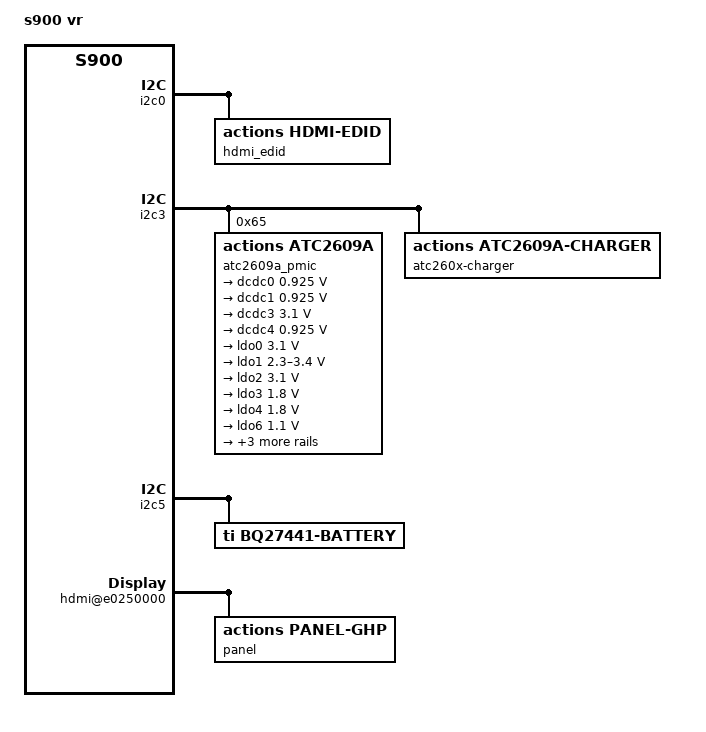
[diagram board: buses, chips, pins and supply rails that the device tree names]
/*
 * Copyright (c) 2015 Actions Semi Co., Ltd.
 *
 * SPDX-License-Identifier:	GPL-2.0+
 */

/dts-v1/;

#include "s900.dtsi"

/ {
	model = "s900 vr";
	compatible = "actions,s900_vr", "actions,s900";

	chosen {
		stdout-path = &serial5;
	};

	clock:e0160000 {
		compatible = "actions,owl-clk";
		core_pll = <1104>;
		dev_pll = <660>;
		display_pll = <1056>;
	};

	i2c0: i2c@e0170000 {
		hdmi_edid {
			compatible = "actions,hdmi-edid";
		};
	};

	i2c3: i2c@e0176000 {
		atc2609a_pmic {
			compatible = "actions,atc2609a";
			reg = <0x65>;

			atc2609a_rtc {
					compatible = "actions,atc2609a-rtc";
			};

			atc2609a_pstore {
					compatible = "actions,atc2609a-pstore";
			};

			atc2609a_misc {
					compatible = "actions,atc2609a-misc";
			};

			atc2609a_auxadc {
					compatible = "actions,atc2609a-auxadc";
			};

			voltage-regulators {

			/* DCDC0       VDD_CORE
			 * DCDC1       VDD_CPU
			 * DCDC2       VDDR
			 * DCDC3       VCC
			 * DCDC4       VDD_CPUM
			 */
			dcdc0: dcdc0 {
				regulator-name = "dcdc0";
				regulator-min-microvolt = <925000>;
				regulator-max-microvolt = <925000>;
				regulator-always-on;
			};

			dcdc1: dcdc1 {
				regulator-name = "dcdc1";
				regulator-min-microvolt = <925000>;
				regulator-max-microvolt = <925000>;
				regulator-always-on;
			};

			dcdc3: dcdc3 {
				regulator-name = "dcdc3";
				regulator-min-microvolt = <3100000>;
				regulator-max-microvolt = <3100000>;
				regulator-always-on;
			};

			dcdc4: dcdc4 {
				regulator-name = "dcdc4";
				regulator-min-microvolt = <925000>;
				regulator-max-microvolt = <925000>;
				regulator-always-on;
			};

			/* LDO0        SD_VCC     
			 * LDO1        SENS_AVDD  
			 * LDO2        AVCC       
			 * LDO3        ATC2609_VDD   
			 * LDO4        AVCC_1V8   
			 * LDO6        AVDD_1V0   
			 * LDO7        SENS_DVDD  
			 * LDO8        TP_VCC     
			 * LDO9        RTC_VDD     */

			ldo0: ldo0{
				regulator-name = "ldo0";
				regulator-min-microvolt  = <3100000>;
				regulator-max-microvolt = <3100000>;
				regulator-always-on;
			};

			ldo1: ldo1{
				regulator-name = "ldo1";
				regulator-min-microvolt  = <2300000>;
				regulator-max-microvolt = <3400000>;
			};

			ldo2: ldo2{
				regulator-name = "ldo2";
				regulator-min-microvolt  = <3100000>;
				regulator-max-microvolt = <3100000>;
				regulator-always-on;
			};

			ldo3: ldo3{
				regulator-name = "ldo3";
				regulator-min-microvolt  = <1800000>;
				regulator-max-microvolt = <1800000>;
				regulator-always-on;
			};

			ldo4: ldo4{
				regulator-name = "ldo4";
				regulator-min-microvolt  = <1800000>;
				regulator-max-microvolt = <1800000>;
				regulator-always-on;
			};


			ldo6: ldo6{
				regulator-name = "ldo6";
				regulator-min-microvolt  = <1100000>;
				regulator-max-microvolt = <1100000>;
				regulator-always-on;
			};

			ldo7: ldo7{
				regulator-name = "ldo7";
				regulator-min-microvolt  = <700000>;
				regulator-max-microvolt = <2200000>;
			};

			ldo8: ldo8{
				regulator-name = "ldo8";
				regulator-min-microvolt  = <2100000>;
				regulator-max-microvolt = <3300000>;
			};

			ldo9: ldo9{
				regulator-name = "ldo9";
				regulator-min-microvolt  = <2600000>;
				regulator-max-microvolt = <3300000>;
			};
			};
		};

		atc260x-charger{
			compatible = "actions,atc2609a-charger";
			rsense = <20>;/*unit:mohm*/
			support_adaptor_type = <3>; /*1: DCIN  2: USB  3:DCIN+USB*/
		};
	};
	
	i2c5: i2c@e017a000 {
		bq27441-battery {
			compatible = "ti,bq27441-battery";
			design_capacity = <3000>;
		};
	};

	hdmi@e0250000 {
		hdcp_onoff = <0>;
		channel_invert = <0>;
		bit_invert = <0>;

		panel@ghp {
			compatible = "actions,panel-ghp";

			is_primary = <1>;
			hotplugable = <1>;
			hotplug_always_on = <1>;

			draw_width = <2560>;
			draw_height = <1024>;

			videomode-0 = <&default_mode>;

			/* default mode used when EDID read error */
			default_mode: videomode {
				refresh_rate = <60>;

				xres = <2560>;
				yres = <1024>;
			};
		};
	};

	xhci@e0400000 {
		actions,vbus-gpio = <&gpioa 5 0>;  /* GPIOA5,  0:  high active ; 1: low active */
	};
};
